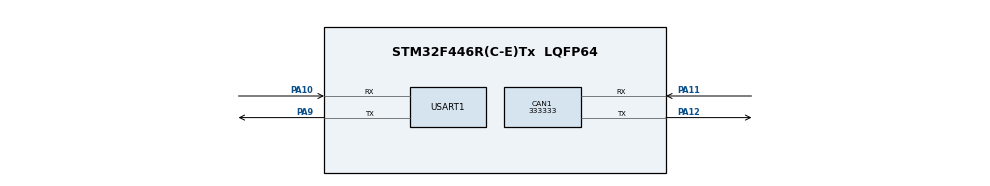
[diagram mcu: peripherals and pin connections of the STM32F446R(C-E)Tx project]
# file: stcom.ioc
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CAN1.CalculateBaudRate=333333
CAN1.CalculateTimeBit=3000
CAN1.CalculateTimeQuantum=1000.0
Mcu.Family=STM32F4
Mcu.Name=STM32F446R(C-E)Tx
Mcu.Package=LQFP64
NVIC.PriorityGroup=NVIC_PRIORITYGROUP_4
PA10.Mode=Asynchronous
PA10.Signal=USART1_RX
PA11.Mode=CAN_Activate
PA11.Signal=CAN1_RX
PA12.Mode=CAN_Activate
PA12.Signal=CAN1_TX
PA9.Mode=Asynchronous
PA9.Signal=USART1_TX
ProjectManager.HeapSize=0x200
ProjectManager.StackSize=0x400
ProjectManager.TargetToolchain=STM32CubeIDE
RCC.CortexFreq_Value=16000000
RCC.USBFreq_Value=96000000
RCC.VCOOutputFreq_Value=192000000
USART1.VirtualMode=VM_ASYNC
board=custom

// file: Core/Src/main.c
/* USER CODE BEGIN Header */
/**
  ******************************************************************************
  * @file           : main.c
  * @brief          : Main program body
  ******************************************************************************
  * @attention
  *
  * Copyright (c) 2026 STMicroelectronics.
  * All rights reserved.
  *
  * This software is licensed under terms that can be found in the LICENSE file
  * in the root directory of this software component.
  * If no LICENSE file comes with this software, it is provided AS-IS.
  *
  ******************************************************************************
  */
/* USER CODE END Header */
#include "main.h"

/* USER CODE BEGIN Includes */
#include "bsp_config.h"
#include "stm32f4xx_nucleo.h"
/* USER CODE END Includes */

CAN_HandleTypeDef hcan1;

UART_HandleTypeDef huart1;

/* USER CODE BEGIN PV */
extern uint32_t SystemCoreClock;
static User_Button_config_t btn;
static SysTick_Config_t syscfg;
/* USER CODE END PV */

void SystemClock_Config(void);
static void MX_GPIO_Init(void);
static void MX_USART1_UART_Init(void);
static void MX_CAN1_Init(void);
/* USER CODE BEGIN PFP */
static void App_SysTick_Init(void);
static void buttonConfig_Init(void);
static void configGpio(void);
/* USER CODE END PFP */

int main(void)
{

  /* MCU Configuration--------------------------------------------------------*/

  /* Reset of all peripherals, Initializes the Flash interface and the Systick. */
  HAL_Init();

  /* Configure the system clock */
  SystemClock_Config();

  /* Initialize all configured peripherals */
  MX_GPIO_Init();
  MX_USART1_UART_Init();
  MX_CAN1_Init();
  /* USER CODE BEGIN 2 */
  BSP_LED_Init(LED2);
  configGpio();
  App_SysTick_Init();
  buttonConfig_Init();
  __enable_irq();

  uint8_t prev_btn = 0;
  /* USER CODE END 2 */

  /* Infinite loop */
  while (1)
  {

    /* USER CODE BEGIN 3 */
    uint8_t curr_btn = BSP_Button_GetState(&btn);
    if (curr_btn == 1 && prev_btn == 0)
    {
      BSP_LED_Toggle(LED2);
    }
    prev_btn = curr_btn;
  }
  /* USER CODE END 3 */
}

void SystemClock_Config(void)
{
  RCC_OscInitTypeDef RCC_OscInitStruct = {0};
  RCC_ClkInitTypeDef RCC_ClkInitStruct = {0};

  /** Configure the main internal regulator output voltage
  */
  __HAL_RCC_PWR_CLK_ENABLE();
  __HAL_PWR_VOLTAGESCALING_CONFIG(PWR_REGULATOR_VOLTAGE_SCALE3);

  /** Initializes the RCC Oscillators according to the specified parameters
  * in the RCC_OscInitTypeDef structure.
  */
  RCC_OscInitStruct.OscillatorType = RCC_OSCILLATORTYPE_HSI;
  RCC_OscInitStruct.HSIState = RCC_HSI_ON;
  RCC_OscInitStruct.HSICalibrationValue = RCC_HSICALIBRATION_DEFAULT;
  RCC_OscInitStruct.PLL.PLLState = RCC_PLL_NONE;
  if (HAL_RCC_OscConfig(&RCC_OscInitStruct) != HAL_OK)
  {
    Error_Handler();
  }

  /** Initializes the CPU, AHB and APB buses clocks
  */
  RCC_ClkInitStruct.ClockType = RCC_CLOCKTYPE_HCLK|RCC_CLOCKTYPE_SYSCLK
                              |RCC_CLOCKTYPE_PCLK1|RCC_CLOCKTYPE_PCLK2;
  RCC_ClkInitStruct.SYSCLKSource = RCC_SYSCLKSOURCE_HSI;
  RCC_ClkInitStruct.AHBCLKDivider = RCC_SYSCLK_DIV1;
  RCC_ClkInitStruct.APB1CLKDivider = RCC_HCLK_DIV1;
  RCC_ClkInitStruct.APB2CLKDivider = RCC_HCLK_DIV1;

  if (HAL_RCC_ClockConfig(&RCC_ClkInitStruct, FLASH_LATENCY_0) != HAL_OK)
  {
    Error_Handler();
  }
}

static void MX_CAN1_Init(void)
{

  hcan1.Instance = CAN1;
  hcan1.Init.Prescaler = 16;
  hcan1.Init.Mode = CAN_MODE_NORMAL;
  hcan1.Init.SyncJumpWidth = CAN_SJW_1TQ;
  hcan1.Init.TimeSeg1 = CAN_BS1_1TQ;
  hcan1.Init.TimeSeg2 = CAN_BS2_1TQ;
  hcan1.Init.TimeTriggeredMode = DISABLE;
  hcan1.Init.AutoBusOff = DISABLE;
  hcan1.Init.AutoWakeUp = DISABLE;
  hcan1.Init.AutoRetransmission = DISABLE;
  hcan1.Init.ReceiveFifoLocked = DISABLE;
  hcan1.Init.TransmitFifoPriority = DISABLE;
  if (HAL_CAN_Init(&hcan1) != HAL_OK)
  {
    Error_Handler();
  }

}

static void MX_USART1_UART_Init(void)
{

  huart1.Instance = USART1;
  huart1.Init.BaudRate = 115200;
  huart1.Init.WordLength = UART_WORDLENGTH_8B;
  huart1.Init.StopBits = UART_STOPBITS_1;
  huart1.Init.Parity = UART_PARITY_NONE;
  huart1.Init.Mode = UART_MODE_TX_RX;
  huart1.Init.HwFlowCtl = UART_HWCONTROL_NONE;
  huart1.Init.OverSampling = UART_OVERSAMPLING_16;
  if (HAL_UART_Init(&huart1) != HAL_OK)
  {
    Error_Handler();
  }

}

static void MX_GPIO_Init(void)
{

  /* GPIO Ports Clock Enable */
  __HAL_RCC_GPIOA_CLK_ENABLE();

}

/* USER CODE BEGIN 4 */
static void buttonConfig_Init(void)
{
  btn.port = GPIOC;
  btn.pin  = GPIO_PIN_13;
  btn.mode = 0u;
  btn.pull = 1u;
  BSP_Button_Init(&btn);
}

static void App_SysTick_Init(void)
{
  syscfg.load  = (SystemCoreClock / 1000u) - 1u;
  syscfg.val   = 0u;
  syscfg.ctrl  = SYSTICK_CTRL_ENABLE | SYSTICK_CTRL_TICKINIT | SYSTICK_CTRL_CLKSOURCE;
  BSP_SysTick_ApplyConfig(&syscfg);
}

static void configGpio(void)
{
  GPIOA->MODER &= ~(3u << 10);
  GPIOA->MODER |= (1u << 10);
}
/* USER CODE END 4 */

void Error_Handler(void)
{
  __disable_irq();
  while (1)
  {
  }
}
